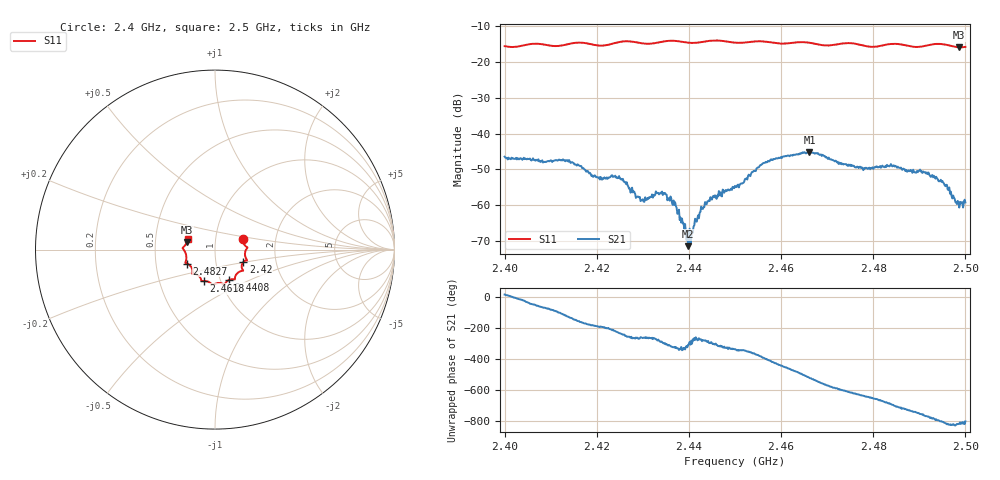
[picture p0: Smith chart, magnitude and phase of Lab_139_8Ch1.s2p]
# Hz S RI R 50
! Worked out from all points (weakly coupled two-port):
!   601 points, 2.4 GHz to 2.5 GHz, reference 50 ohm
!   highest |S21| = -45.14 dB at 2.4662 GHz (marker M1); lowest = -71.5 dB at 2.4398 GHz (marker M2)
!   lowest |S11| = -15.8 dB at 2.4987 GHz (marker M3), VSWR 1.39, Z = 36.4 + j3.16 ohm
!   |S11| at or under -10 dB: start of sweep to end of sweep
!   S12 and S22 are empty: the file has one direction only
!   S11 on the Smith chart (normalised r, x): 2.4 GHz: 1.36, +0.17; 2.42 GHz: 1.36, -0.19; 2.4408 GHz: 1.10, -0.39; 2.4618 GHz: 0.84, -0.30; 2.4827 GHz: 0.72, -0.12; 2.5 GHz: 0.73, +0.09
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2.4e9  0.1561 0.0617  0.00451 0.00155  0 0  0 0
2.413167e9  0.1702 -0.0429  -0.00188 -0.00366  0 0  0 0
2.416667e9  0.178 -0.0593  -0.00328 -0.00125  0 0  0 0
2.42e9  0.1579 -0.0691  -0.00247 0.000238  0 0  0 0
2.425167e9  0.1555 -0.1145  -0.00145 0.00187  0 0  0 0
2.429833e9  0.1367 -0.1229  -0.000202 0.00117  0 0  0 0
2.433333e9  0.1119 -0.152  4.62e-05 0.00149  0 0  0 0
2.4365e9  0.1101 -0.1666  0.000784 0.000634  0 0  0 0
2.439833e9  0.0893 -0.1652  0.000152 0.00022  0 0  0 0
2.440833e9  0.0788 -0.1689  1.14e-07 0.000412  0 0  0 0
2.444e9  0.056 -0.189  0.00033 0.00108  0 0  0 0
2.45e9  0.0279 -0.1859  0.00167 0.000824  0 0  0 0
2.456167e9  -0.015 -0.1948  0.0034 -0.00191  0 0  0 0
2.461833e9  -0.0604 -0.175  -0.000944 -0.00474  0 0  0 0
2.466167e9  -0.0761 -0.1713  -0.00518 -0.00194  0 0  0 0
2.466667e9  -0.0769 -0.1685  -0.00525 -0.00133  0 0  0 0
2.476333e9  -0.1259 -0.1292  -0.000348 0.00336  0 0  0 0
2.482667e9  -0.1572 -0.0777  0.00263 0.0024  0 0  0 0
2.483333e9  -0.1613 -0.0762  0.00288 0.00206  0 0  0 0
2.493167e9  -0.1791 0.00541  0.0012 -0.00228  0 0  0 0
2.498667e9  -0.1561 0.0423  -0.000102 -0.000921  0 0  0 0
2.5e9  -0.152 0.0616  0.000195 -0.00107  0 0  0 0
